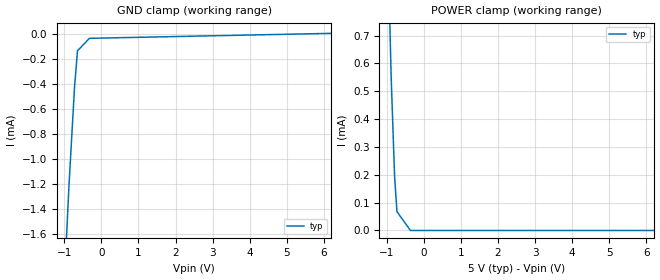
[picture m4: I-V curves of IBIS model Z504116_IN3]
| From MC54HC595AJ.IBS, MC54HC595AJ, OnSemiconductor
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| (C) COPYRIGHT 1993-2000
| MENTOR GRAPHICS CORPORATION
| ICX STANDARD LIBRARY, ICX PROJECT MODELING,
| ICX CUSTOM MODELING, ICX VENDOR MODEL
| ALL RIGHTS RESERVED.
| THE FOLLOWING ARE TRADEMARKS OR SERVICE MARKS OF
| MENTOR GRAPHICS CORPORATION:ICX (R), ICX STANDARD
| LIBRARY(R), ICX PROJECT MODELING(R), ICX CUSTOM
| MODELING(R), qualityIBIS(TM), MODELVIEWER(TM),
| AND MODELEDITOR(TM)
| ALL COPIES OF SOFTWARE, INCLUDING BUT NOT LIMITED TO
| ANY MODIFICATIONS, ENHANCEMENTS OR DERIVATIVE WORKS,
| MUST CONTAIN ALL MENTOR GRAPHICS CORPORATION'S
| NOTICES AND LEGENDS, INCLUDING THOSE EMBEDDED IN
| SOFTWARE AND THOSE AFFIXED TO SOFTWARE MEDIUM
| AND CONTAINER, AS RECEIVED FROM MENTOR GRAPHICS
| CORPORATION.
| Model Application Version 1.89 2/18/99.
[Model] Z504116_IN3
Model_type Input
Vinl = 1.000V
Vinh = 3.500V
C_comp 4.000pF NA NA
| variable typ   min   max
[Voltage Range] 5.000V NA NA
[GND Clamp Reference] 0.000V NA NA
[POWER Clamp Reference] 5.000V NA NA
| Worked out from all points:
|   GND clamp passes 1 mA (typ) near -0.83 V on its own axis
|   POWER clamp passes 1 mA (typ) near -0.97 V on its own axis
[GND Clamp]
-5V       -26.56mA   NA         NA
-873.7mV  -1.21mA    NA         NA
-724.4mV  -425.9uA   NA         NA
-644.5mV  -134.7uA   NA         NA
-322.3mV  -35.01uA   NA         NA
10V       27.93uA    NA         NA
[POWER Clamp]
-5V       26.56mA    NA         NA
-1.092V   1.683mA    NA         NA
-883mV    552.3uA    NA         NA
-790mV    193.7uA    NA         NA
-727mV    67.74uA    NA         NA
-363.5mV  0A         NA         NA
10V       0A         NA         NA
